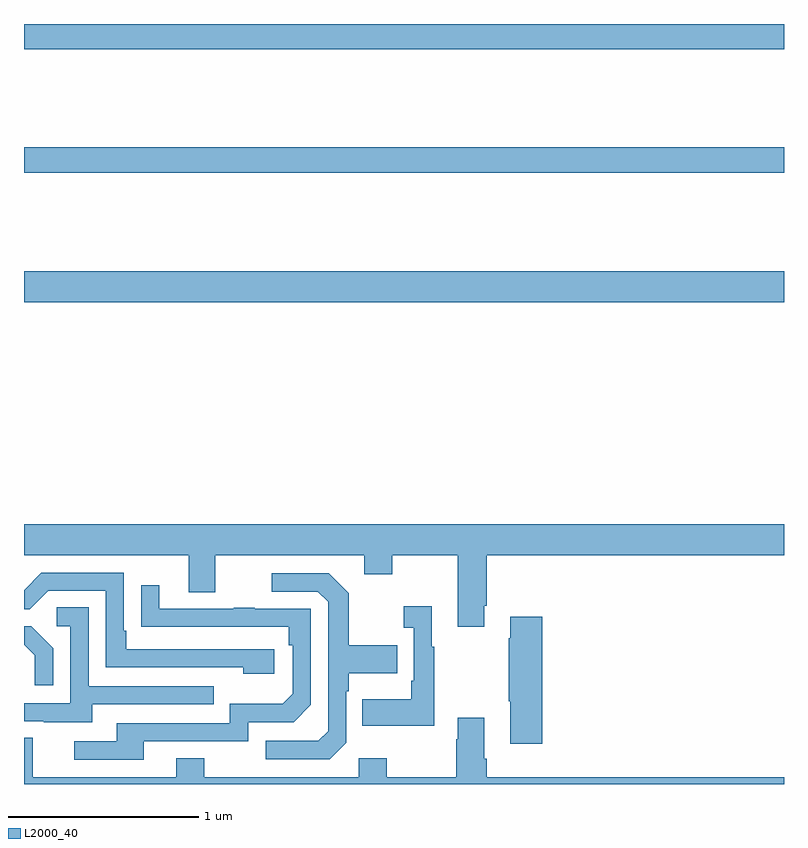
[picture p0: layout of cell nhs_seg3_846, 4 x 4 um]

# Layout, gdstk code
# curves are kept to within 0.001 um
import gdstk
lib = gdstk.Library(unit=1e-6, precision=1e-09)
def R(c, l, rs):  # rectangles x0, y0, x1, y1
    for r in rs: c.add(gdstk.rectangle(r[:2], r[2:], *l))
def P(c, l, *ps):  # polygons
    for p in ps: c.add(gdstk.Polygon(p, *l))
L2000_40 = (2000, 40)

nhs_seg3_846 = lib.new_cell('nhs_seg3_846')
R(nhs_seg3_846, L2000_40, [(155,680.936,159,681.1), (155,681.616,159,681.752), (155,682.268,159,682.4)])
P(nhs_seg3_846, L2000_40, [(157.423,679.339),(157.436,679.339),(157.436,679.604),(159,679.604),(159,679.768),(155,679.768),(155,679.604),(155.867,679.604),(155.867,679.41),(156.007,679.41),(156.007,679.604),(156.791,679.604),(156.791,679.505),(156.939,679.505),(156.939,679.604),(157.283,679.604),(157.283,679.227),(157.423,679.227)],
  [(156.316,679.11),(155.539,679.11),(155.539,679.207),(155.526,679.207),(155.526,679.512),(155.091,679.512),(155,679.421),(155,679.32),(155.031,679.32),(155.127,679.416),(155.43,679.416),(155.43,679.014),(156.155,679.014),(156.155,678.98),(156.316,678.98)],
  [(156.696,678.618),(156.696,678.887),(156.709,678.887),(156.709,678.983),(156.965,678.983),(156.965,679.131),(156.709,679.131),(156.709,679.403),(156.603,679.509),(156.303,679.509),(156.303,679.413),(156.546,679.413),(156.6,679.359),(156.6,678.678),(156.549,678.627),(156.273,678.627),(156.273,678.531),(156.609,678.531)],
  [(155.629,678.624),(156.18,678.624),(156.18,678.726),(156.42,678.726),(156.51,678.816),(156.51,679.323),(156.215,679.323),(156.215,679.328),(156.103,679.328),(156.103,679.323),(155.713,679.323),(155.713,679.447),(155.617,679.447),(155.617,679.228),(156.394,679.227),(156.394,679.13),(156.414,679.13),(156.414,678.876),(156.361,678.823),(156.084,678.823),(156.084,678.72),(155.489,678.72),(155.489,678.624),(155.265,678.624),(155.265,678.528),(155.629,678.528)],
  [(157.159,679.123),(157.147,679.123),(157.147,679.336),(156.999,679.336),(156.999,679.223),(157.05,679.223),(157.05,678.943),(157.038,678.943),(157.038,678.847),(156.781,678.847),(156.781,678.707),(157.159,678.707)],
  [(155.359,678.819),(155.999,678.819),(155.999,678.915),(155.34,678.915),(155.34,679.331),(155.172,679.331),(155.172,679.23),(155.244,679.23),(155.244,678.825),(155,678.825),(155,678.729),(155.105,678.729),(155.105,678.725),(155.359,678.725)],
  [(157.727,679.279),(157.559,679.279),(157.559,679.166),(157.552,679.166),(157.552,678.835),(157.559,678.835),(157.559,678.612),(157.727,678.612)],
  [(155.154,679.114),(155.038,679.23),(155,679.23),(155,679.134),(155.057,679.077),(155.057,678.921),(155.154,678.921)],
  [(159,678.436),(157.436,678.436),(157.436,678.532),(157.423,678.532),(157.423,678.748),(157.283,678.748),(157.283,678.635),(157.276,678.635),(157.276,678.436),(156.909,678.436),(156.909,678.535),(156.762,678.535),(156.762,678.436),(155.949,678.436),(155.949,678.535),(155.801,678.535),(155.801,678.436),(155.047,678.436),(155.047,678.644),(155,678.644),(155,678.4),(159,678.4)])

lib.write_gds('nhs_seg3_846.gds')
